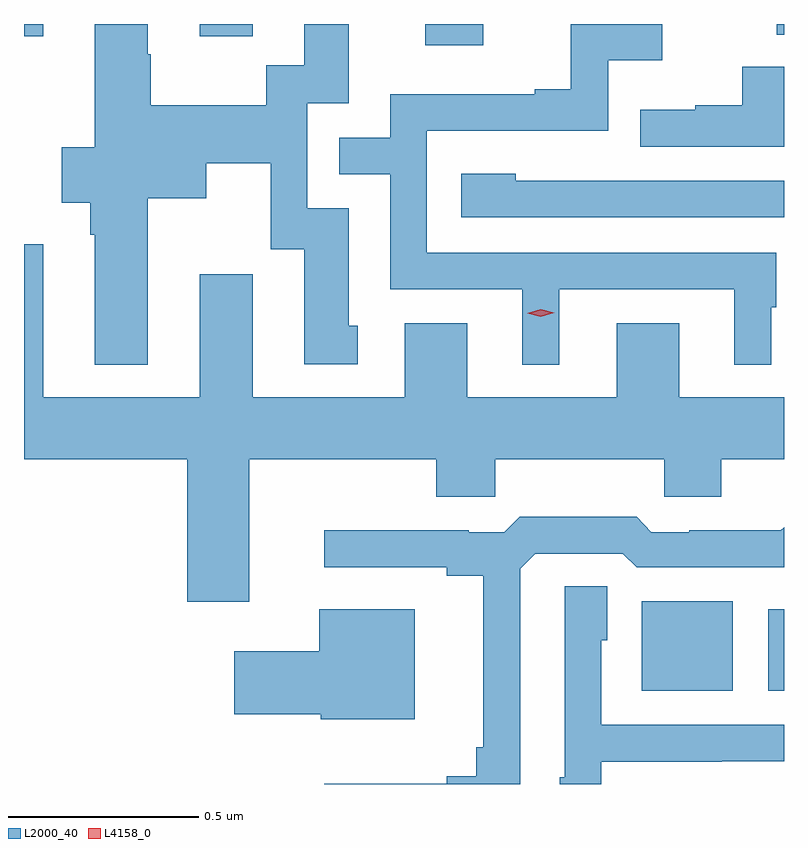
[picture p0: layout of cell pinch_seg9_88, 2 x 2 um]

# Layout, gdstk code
import gdstk
lib = gdstk.Library(unit=1e-6, precision=1e-09)
def R(c, l, rs):  # rectangles x0, y0, x1, y1
    for r in rs: c.add(gdstk.rectangle(r[:2], r[2:], *l))
def P(c, l, *ps):  # polygons
    for p in ps: c.add(gdstk.Polygon(p, *l))
L2000_40 = (2000, 40)
L4158_0 = (4158, 0)

pinch_seg9_88 = lib.new_cell('pinch_seg9_88')
R(pinch_seg9_88, L2000_40, [(1113.257,1201.139,1113.496,1201.375), (1113.59,1201.139,1113.631,1201.354), (1112.687,1202.838,1112.839,1202.894), (1111.631,1202.862,1111.681,1202.894), (1112.093,1202.862,1112.233,1202.894), (1113.612,1202.866,1113.631,1202.894)])
P(pinch_seg9_88, L2000_40, [(1111.957,1202.435),(1112.11,1202.435),(1112.11,1202.528),(1112.28,1202.528),(1112.28,1202.301),(1112.369,1202.301),(1112.369,1201.998),(1112.509,1201.998),(1112.509,1202.1),(1112.485,1202.1),(1112.485,1202.409),(1112.376,1202.409),(1112.376,1202.685),(1112.485,1202.685),(1112.485,1202.894),(1112.369,1202.894),(1112.369,1202.786),(1112.268,1202.786),(1112.268,1202.68),(1111.965,1202.68),(1111.965,1202.814),(1111.957,1202.814),(1111.957,1202.894),(1111.817,1202.894),(1111.817,1202.57),(1111.73,1202.57),(1111.73,1202.423),(1111.805,1202.423),(1111.805,1202.339),(1111.817,1202.339),(1111.817,1201.997),(1111.957,1201.997)],
  [(1113.04,1202.196),(1113.5,1202.196),(1113.5,1201.997),(1113.598,1201.997),(1113.598,1202.148),(1113.61,1202.148),(1113.61,1202.292),(1112.691,1202.292),(1112.691,1202.613),(1113.168,1202.613),(1113.168,1202.798),(1113.31,1202.798),(1113.31,1202.894),(1113.07,1202.894),(1113.07,1202.722),(1112.975,1202.722),(1112.975,1202.709),(1112.595,1202.709),(1112.595,1202.595),(1112.461,1202.595),(1112.461,1202.499),(1112.595,1202.499),(1112.595,1202.196),(1112.942,1202.196),(1112.942,1201.997),(1113.04,1201.997)],
  [(1113.631,1202.781),(1113.521,1202.781),(1113.521,1202.68),(1113.397,1202.68),(1113.397,1202.668),(1113.253,1202.668),(1113.253,1202.571),(1113.631,1202.571)],
  [(1113.631,1202.481),(1113.161,1202.481),(1113.161,1202.482),(1112.925,1202.482),(1112.925,1202.5),(1112.781,1202.5),(1112.781,1202.385),(1113.631,1202.385)],
  [(1112.224,1201.748),(1112.716,1201.748),(1112.716,1201.65),(1112.871,1201.65),(1112.871,1201.748),(1113.316,1201.748),(1113.316,1201.65),(1113.466,1201.65),(1113.466,1201.748),(1113.631,1201.748),(1113.631,1201.912),(1113.355,1201.912),(1113.355,1202.107),(1113.191,1202.107),(1113.191,1201.912),(1112.797,1201.912),(1112.797,1202.107),(1112.633,1202.107),(1112.633,1201.912),(1112.233,1201.912),(1112.233,1202.236),(1112.093,1202.236),(1112.093,1201.912),(1111.681,1201.912),(1111.681,1202.314),(1111.631,1202.314),(1111.631,1201.748),(1112.06,1201.748),(1112.06,1201.374),(1112.224,1201.374)],
  [(1112.937,1201.461),(1112.976,1201.5),(1113.207,1201.5),(1113.243,1201.464),(1113.631,1201.464),(1113.631,1201.57),(1113.623,1201.562),(1113.382,1201.562),(1113.382,1201.557),(1113.282,1201.557),(1113.243,1201.597),(1112.935,1201.597),(1112.895,1201.557),(1112.801,1201.557),(1112.801,1201.562),(1112.421,1201.562),(1112.421,1201.464),(1112.744,1201.464),(1112.744,1201.442),(1112.84,1201.442),(1112.84,1200.991),(1112.821,1200.991),(1112.821,1200.914),(1112.744,1200.914),(1112.744,1200.895),(1112.421,1200.895),(1112.421,1200.894),(1112.937,1200.894)],
  [(1113.15,1200.953),(1113.467,1200.953),(1113.467,1200.954),(1113.631,1200.954),(1113.631,1201.05),(1113.15,1201.05),(1113.15,1201.272),(1113.166,1201.272),(1113.166,1201.415),(1113.054,1201.415),(1113.054,1200.912),(1113.041,1200.912),(1113.041,1200.894),(1113.15,1200.894)],
  [(1112.659,1201.354),(1112.408,1201.354),(1112.408,1201.243),(1112.184,1201.243),(1112.184,1201.078),(1112.412,1201.078),(1112.412,1201.064),(1112.659,1201.064)])
P(pinch_seg9_88, L4158_0, [(1112.991,1202.124),(1112.955,1202.133),(1112.955,1202.133),(1112.955,1202.133),(1112.991,1202.144),(1113.027,1202.134),(1113.027,1202.134),(1113.027,1202.134)])

lib.write_gds('pinch_seg9_88.gds')
